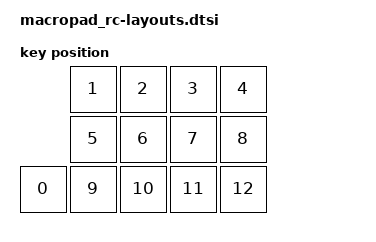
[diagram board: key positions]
// See https://zmk.dev/docs/development/hardware-integration/physical-layouts
// for how to configure this.

#include <physical_layouts.dtsi>

/ {
    default_layout: default_layout {
        compatible = "zmk,physical-layout";
        display-name = "Default Layout";
        transform = <&default_transform>;
        kscan = <&kscan>;

        // Edit this to define the positions and sizes of the keys, or remove it
        // if your keyboard will not support ZMK Studio.
        // https://zmk.dev/docs/development/hardware-integration/physical-layouts#optional-keys-property
        keys  //                     w   h   x   y  rot  rx  ry
            = <&key_physical_attrs 100 100   0 200   0   0   0> // Extra Key (A0) at (-100, 200)
            
            , <&key_physical_attrs 100 100 100   0   0   0   0>   // Row 1, Col 1
            , <&key_physical_attrs 100 100 200   0   0   0   0>   // Row 1, Col 2
            , <&key_physical_attrs 100 100 300   0   0   0   0>   // Row 1, Col 3
            , <&key_physical_attrs 100 100 400   0   0   0   0>   // Row 1, Col 4
            
            , <&key_physical_attrs 100 100 100 100   0   0   0> // Row 2, Col 1
            , <&key_physical_attrs 100 100 200 100   0   0   0> // Row 2, Col 2
            , <&key_physical_attrs 100 100 300 100   0   0   0> // Row 2, Col 3
            , <&key_physical_attrs 100 100 400 100   0   0   0> // Row 2, Col 4
            
            , <&key_physical_attrs 100 100 100 200   0   0   0> // Row 3, Col 1
            , <&key_physical_attrs 100 100 200 200   0   0   0> // Row 3, Col 2
            , <&key_physical_attrs 100 100 300 200   0   0   0> // Row 3, Col 3
            , <&key_physical_attrs 100 100 400 200   0   0   0> // Row 3, Col 4
            ;
    };
};
